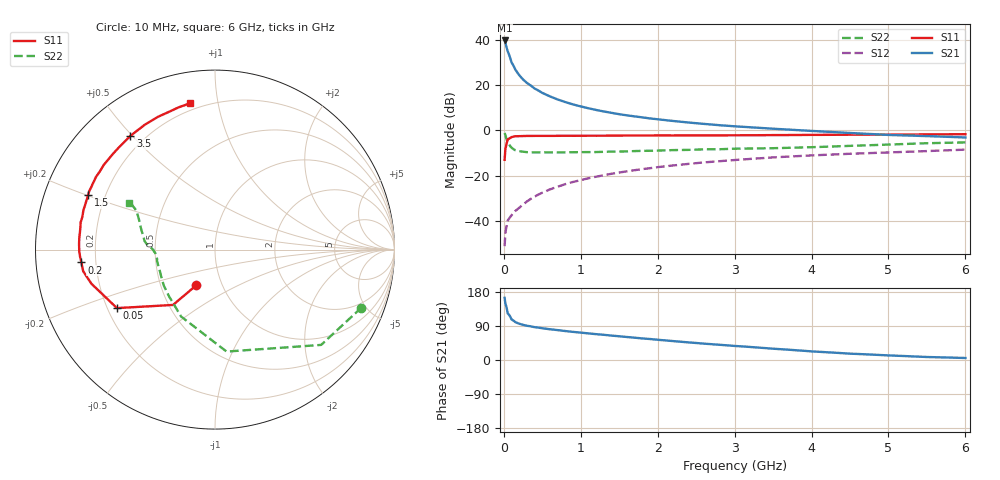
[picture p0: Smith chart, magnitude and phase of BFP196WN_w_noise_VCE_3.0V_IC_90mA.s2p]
! Infineon Technologies  Discrete & RF Semiconductors
! BFP196WN
! VCE =  3.0 V,  IC =  90 mA
! Common Emitter S-Parameters:  Jan 2017
# GHz  S  MA  R  50
!  f  S11  S21  S12  S22
! GHz  MAG  ANG  MAG  ANG  MAG  ANG  MAG  ANG
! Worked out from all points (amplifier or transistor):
!   77 points, 10 MHz to 6 GHz, reference 50 ohm
!   highest |S21| = 39.7 dB at 10 MHz (marker M1)
!   |S21| within 3 dB of that: start of sweep to 35.22 MHz
!   unconditionally stable (mu >= 1): 464.2 MHz to 2.687 GHz
!   at 130 MHz: K = 0.72, MSG = 32.2 dB, |S12| = -36.2 dB
!   at 2.2 GHz: K = 1.02, MAG = 9.0 dB, |S12| = -15.5 dB
!   at 6 GHz: K = 0.93, MSG = 2.7 dB, |S12| = -8.5 dB
!   lowest NFmin = 1.69 dB at 450 MHz
!   S11 on the Smith chart (normalised r, x): 10 MHz: 0.75, -0.32; 50 MHz: 0.24, -0.26; 200 MHz: 0.14, -0.05; 1.5 GHz: 0.14, +0.20; 3.5 GHz: 0.15, +0.49; 6 GHz: 0.16, +0.83
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0.01  0.2251 -117.7  96.59 164.0  0.0028 79.7  0.8777 -21.6
0.02  0.3871 -127.2  84.72 149.0  0.0054 70.3  0.7949 -41.9
0.05  0.6363 -149.2  55.91 122.9  0.0103 52.9  0.5719 -83.5
0.1  0.7145 -164.6  31.72 106.8  0.0134 53.5  0.4181 -116.8
0.15  0.7442 -170.7  21.9 99.9  0.0168 57.5  0.3658 -134.3
0.2  0.7479 -174.5  16.56 95.7  0.0197 63.0  0.3491 -144.5
0.25  0.753 -177.1  13.32 92.7  0.0232 65.2  0.3395 -150.6
0.3  0.7564 -179.3  11.16 90.4  0.0271 66.2  0.3323 -155.9
0.4  0.7582 177.6  8.414 86.6  0.0347 69.6  0.328 -161.6
0.5  0.7589 174.9  6.737 83.8  0.0423 70.8  0.3285 -165.7
0.6  0.7586 172.8  5.629 81.1  0.0501 71.4  0.3292 -168.8
0.7  0.7602 170.7  4.816 78.9  0.0574 72.5  0.3269 -171.0
0.8  0.7638 168.5  4.219 76.4  0.0655 72.3  0.3281 -172.4
0.9  0.7614 166.6  3.749 74.2  0.0731 71.8  0.3311 -173.8
1.1  0.7655 163.2  3.082 70.2  0.0883 71.0  0.3331 -176.3
1.5  0.7695 156.7  2.284 62.6  0.1181 68.5  0.3427 -179.8
2.1  0.776 147.2  1.688 51.7  0.1618 63.8  0.3638 177.2
3.1  0.782 132.3  1.204 35.8  0.2287 54.7  0.3973 172.4
3.5  0.7897 126.6  1.092 29.8  0.2542 51.2  0.4059 169.6
4.1  0.7989 118.1  0.956 21.6  0.2862 45.7  0.4324 163.2
5.1  0.8111 107.4  0.786 11.3  0.3317 37.8  0.4947 153.3
6  0.827 99.7  0.7 5.3  0.3772 31.7  0.5447 151.3
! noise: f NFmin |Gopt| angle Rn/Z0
0.45  1.69  0.59  -175  0.05
0.9  1.82  0.6  -168  0.07
1.9  2.82  0.71  -146  0.23
2.4  3.6  0.72  -138  0.39
